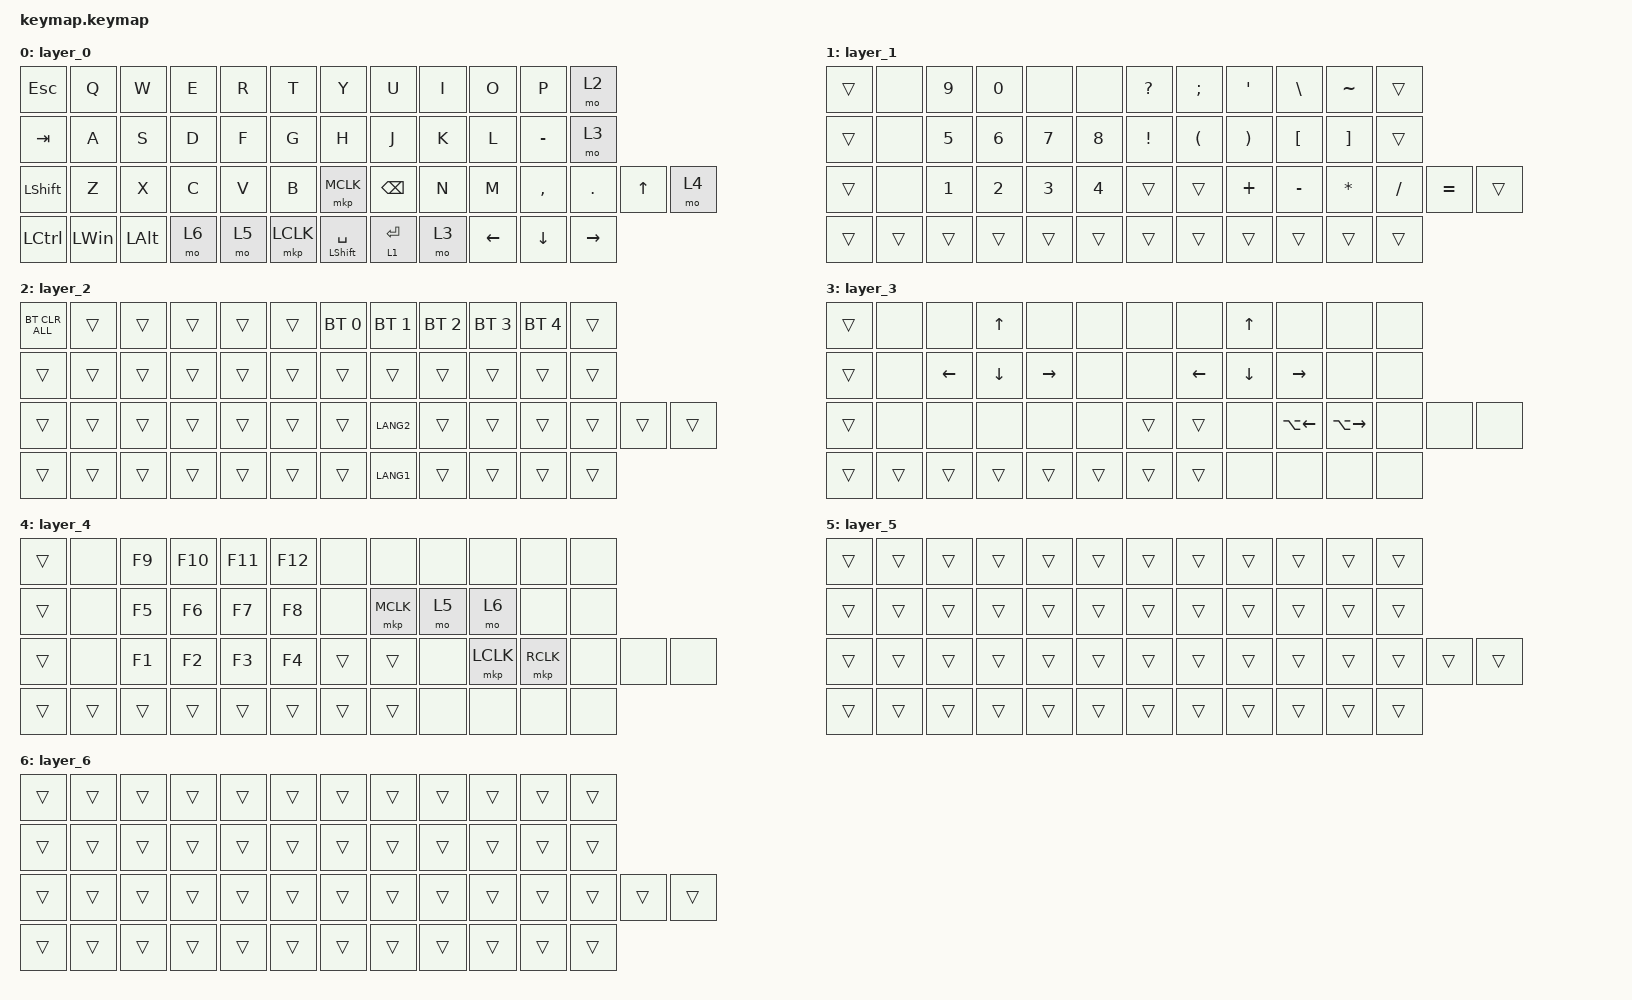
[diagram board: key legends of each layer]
#include <behaviors.dtsi>
#include <dt-bindings/zmk/bt.h>
#include <dt-bindings/zmk/keys.h>
#include <dt-bindings/zmk/pointing.h>

/ {
    combos {
        compatible = "zmk,combos";

        bt_clear {
            bindings = <&bt BT_CLR>;
            key-positions = <28 29>;
            layers = <2>;
        };
    };

    keymap {
        compatible = "zmk,keymap";

        layer_0 {
            bindings = <
&kp ESCAPE  &kp Q         &kp W         &kp E  &kp R  &kp T      &kp Y                 &kp U          &kp I  &kp O           &kp P           &mo 2
&kp TAB     &kp A         &kp S         &kp D  &kp F  &kp G      &kp H                 &kp J          &kp K  &kp L           &kp MINUS       &mo 3
&kp LSHFT   &kp Z         &kp X         &kp C  &kp V  &kp B      &mkp MCLK             &kp BACKSPACE  &kp N  &kp M           &kp COMMA       &kp DOT          &kp UP_ARROW  &mo 4
&kp LCTRL   &kp LEFT_WIN  &kp LEFT_ALT  &mo 6  &mo 5  &mkp LCLK  &mt LEFT_SHIFT SPACE  &lt 1 ENTER    &mo 3  &kp LEFT_ARROW  &kp DOWN_ARROW  &kp RIGHT_ARROW
            >;
        };

        layer_1 {
            bindings = <
&trans  &none   &kp N9  &kp N0  &none   &none   &kp QUESTION     &kp SEMICOLON         &kp APOS               &kp BSLH          &kp TILDE          &trans
&trans  &none   &kp N5  &kp N6  &kp N7  &kp N8  &kp EXCLAMATION  &kp LEFT_PARENTHESIS  &kp RIGHT_PARENTHESIS  &kp LEFT_BRACKET  &kp RIGHT_BRACKET  &trans
&trans  &none   &kp N1  &kp N2  &kp N3  &kp N4  &trans           &trans                &kp PLUS               &kp MINUS         &kp ASTERISK       &kp SLASH  &kp EQUAL  &trans
&trans  &trans  &trans  &trans  &trans  &trans  &trans           &trans                &trans                 &trans            &trans             &trans
            >;
        };

        layer_2 {
            bindings = <
&bt BT_CLR_ALL  &trans  &trans  &trans  &trans  &trans  &bt BT_SEL 0  &bt BT_SEL 1  &bt BT_SEL 2  &bt BT_SEL 3  &bt BT_SEL 4  &trans
&trans          &trans  &trans  &trans  &trans  &trans  &trans        &trans        &trans        &trans        &trans        &trans
&trans          &trans  &trans  &trans  &trans  &trans  &trans        &kp LANG2     &trans        &trans        &trans        &trans  &trans  &trans
&trans          &trans  &trans  &trans  &trans  &trans  &trans        &kp LANG1     &trans        &trans        &trans        &trans
            >;
        };

        layer_3 {
            bindings = <
&trans  &none   &none           &kp UP_ARROW    &none            &none   &none   &none           &kp UP_ARROW    &none               &none                &none
&trans  &none   &kp LEFT_ARROW  &kp DOWN_ARROW  &kp RIGHT_ARROW  &none   &none   &kp LEFT_ARROW  &kp DOWN_ARROW  &kp RIGHT_ARROW     &none                &none
&trans  &none   &none           &none           &none            &none   &trans  &trans          &none           &kp LA(LEFT_ARROW)  &kp LA(RIGHT_ARROW)  &none  &none  &none
&trans  &trans  &trans          &trans          &trans           &trans  &trans  &trans          &none           &none               &none                &none
            >;
        };

        layer_4 {
            bindings = <
&trans  &none   &kp F9  &kp F10  &kp F11  &kp F12  &none   &none      &none  &none      &none      &none
&trans  &none   &kp F5  &kp F6   &kp F7   &kp F8   &none   &mkp MCLK  &mo 5  &mo 6      &none      &none
&trans  &none   &kp F1  &kp F2   &kp F3   &kp F4   &trans  &trans     &none  &mkp LCLK  &mkp RCLK  &none  &none  &none
&trans  &trans  &trans  &trans   &trans   &trans   &trans  &trans     &none  &none      &none      &none
            >;
        };

        layer_5 {
            bindings = <
&trans  &trans  &trans  &trans  &trans  &trans  &trans  &trans  &trans  &trans  &trans  &trans
&trans  &trans  &trans  &trans  &trans  &trans  &trans  &trans  &trans  &trans  &trans  &trans
&trans  &trans  &trans  &trans  &trans  &trans  &trans  &trans  &trans  &trans  &trans  &trans  &trans  &trans
&trans  &trans  &trans  &trans  &trans  &trans  &trans  &trans  &trans  &trans  &trans  &trans
            >;
        };

        layer_6 {
            bindings = <
&trans  &trans  &trans  &trans  &trans  &trans  &trans  &trans  &trans  &trans  &trans  &trans
&trans  &trans  &trans  &trans  &trans  &trans  &trans  &trans  &trans  &trans  &trans  &trans
&trans  &trans  &trans  &trans  &trans  &trans  &trans  &trans  &trans  &trans  &trans  &trans  &trans  &trans
&trans  &trans  &trans  &trans  &trans  &trans  &trans  &trans  &trans  &trans  &trans  &trans
            >;
        };
    };
};
